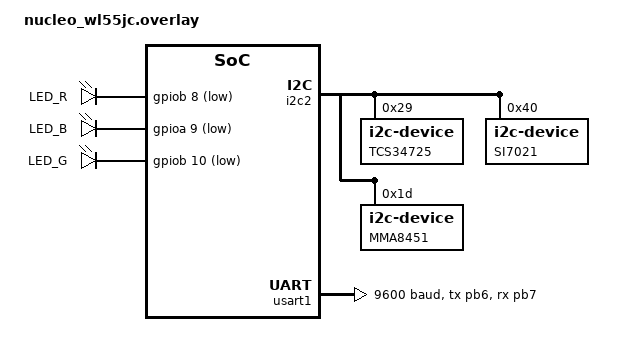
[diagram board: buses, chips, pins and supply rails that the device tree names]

/* The board DTS already sets I2C2 pins to PA12/PA11 and status = "okay". */
&i2c2 {
    status = "okay";
    /* Optional: lock speed (board already uses 400 kHz)
     * clock-frequency = <400000>;
     */

    tcs34725: tcs34725@29 {
        compatible = "zephyr,i2c-device";  /* generic node for raw I2C access */
        reg = <0x29>;                      /* 7-bit address of TCS34725 */
        label = "TCS34725";
        status = "okay";
    };

    si7021: si7021@40 {
        compatible = "zephyr,i2c-device";  /* generic node for raw I2C access */
        reg = <0x40>;                      /* 7-bit address of TCS34725 */
        label = "SI7021";
        status = "okay";
    };

    mma8451: mma8451@1d {
        compatible = "zephyr,i2c-device";  /* generic node for raw I2C access */
        reg = <0x1D>;                      /* 7-bit address of TCS34725 */
        label = "MMA8451";
        status = "okay";
    };
};

&usart1 {
    /* D1 (TX) = PB6, D0 (RX) = PB7 */
    pinctrl-0 = <&usart1_tx_pb6 &usart1_rx_pb7>;
    pinctrl-names = "default";

    current-speed = <9600>;   /* Adafruit Ultimate GPS default baud */
    status = "okay";
};

/ {
    leds {
        compatible = "gpio-leds";
        rgb_led_r: rgb_led_r { gpios = <&gpiob 8  GPIO_ACTIVE_LOW>; label = "LED_R"; };
        rgb_led_b: rgb_led_b { gpios = <&gpioa 9  GPIO_ACTIVE_LOW>; label = "LED_B"; };
        rgb_led_g: rgb_led_g { gpios = <&gpiob 10 GPIO_ACTIVE_LOW>; label = "LED_G"; }; 
    };

    aliases {
        led0r = &rgb_led_r;
        led0g = &rgb_led_g;
        led0b = &rgb_led_b;
    };
};

/ {
	aliases {
		led0 = &blue_led_1; 	// This is LED1 as labeled STM32WL55JC board's 
		led1 = &green_led_2; 	// This is LED2 as labeled STM32WL55JC board's 
		led2 = &red_led_3; 	// This is LED3 as labeled STM32WL55JC board's 
	};
};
